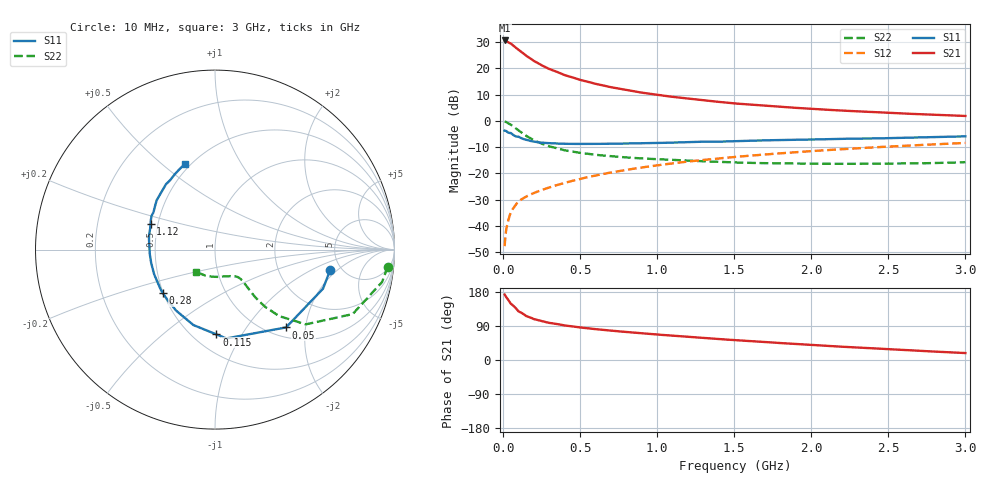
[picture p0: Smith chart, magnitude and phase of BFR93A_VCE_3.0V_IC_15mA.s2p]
! Infineon Technologies  Discrete & RF Semiconductors
! BFR93A
! VCE =  3.0 V,  IC =  15 mA
! Common Emitter S-Parameters:  Nov 2015
# GHz  S  MA  R  50
!  f  S11  S21  S12  S22
! GHz  MAG  ANG  MAG  ANG  MAG  ANG  MAG  ANG
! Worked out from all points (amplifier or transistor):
!   180 points, 10 MHz to 3 GHz, reference 50 ohm
!   highest |S21| = 30.6 dB at 10 MHz (marker M1)
!   |S21| within 3 dB of that: start of sweep to 88.1 MHz
!   unconditionally stable (mu >= 1): 477.3 MHz to 2.919 GHz
!   at 160 MHz: K = 0.62, MSG = 26.5 dB, |S12| = -28.6 dB
!   at 1.22 GHz: K = 1.08, MAG = 10.1 dB, |S12| = -15.4 dB
!   at 3 GHz: K = 0.99, MSG = 5.1 dB, |S12| = -8.4 dB
!   S11 on the Smith chart (normalised r, x): 10 MHz: 4.05, -1.62; 50 MHz: 1.19, -1.57; 115 MHz: 0.64, -0.78; 280 MHz: 0.50, -0.28; 1.12 GHz: 0.46, +0.15; 3 GHz: 0.47, +0.60
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0.01  0.6514 -10.2  33.89 172.8  0.0041 84.7  0.9669 -5.7
0.02  0.64 -19.9  33.21 166.2  0.0083 81.6  0.9481 -11.0
0.05  0.5872 -47.6  29.64 148.6  0.018 71.0  0.8471 -25.1
0.1  0.499 -82.7  22.62 128.5  0.0292 61.2  0.6548 -39.5
0.115  0.4726 -89.0  20.94 125.4  0.0313 60.2  0.6122 -41.1
0.15  0.4372 -106.0  17.3 116.0  0.0361 58.4  0.5153 -46.0
0.2  0.4031 -122.5  13.82 108.0  0.0422 58.8  0.4262 -48.7
0.24  0.3863 -132.6  11.87 103.5  0.0468 59.4  0.3786 -49.5
0.26  0.3816 -136.9  11.05 101.4  0.0492 59.8  0.3586 -49.7
0.28  0.3778 -140.4  10.37 99.8  0.0515 60.4  0.3423 -49.8
0.3  0.3753 -143.9  9.693 97.9  0.0538 61.0  0.3261 -49.8
0.4  0.3659 -157.8  7.416 91.1  0.0658 63.1  0.274 -49.3
0.52  0.3629 -169.7  5.825 85.0  0.0807 64.4  0.2412 -48.7
0.6  0.3641 -175.9  5.062 81.4  0.0909 64.8  0.225 -48.6
0.7  0.3653 178.0  4.364 77.4  0.1036 65.1  0.2114 -49.2
0.9  0.3763 167.7  3.438 70.6  0.1292 64.6  0.1918 -51.7
1.02  0.3795 162.3  3.067 66.6  0.1444 63.8  0.1845 -53.8
1.12  0.3858 158.4  2.817 63.5  0.1574 63.0  0.1783 -56.2
1.52  0.4099 145.1  2.123 52.0  0.2068 59.3  0.1605 -67.8
2.02  0.4412 131.4  1.678 39.4  0.2671 53.9  0.1523 -86.1
2.52  0.4689 120.1  1.413 28.2  0.3254 47.6  0.1531 -106.8
3  0.5059 109.4  1.237 18.3  0.379 41.4  0.1632 -130.4
